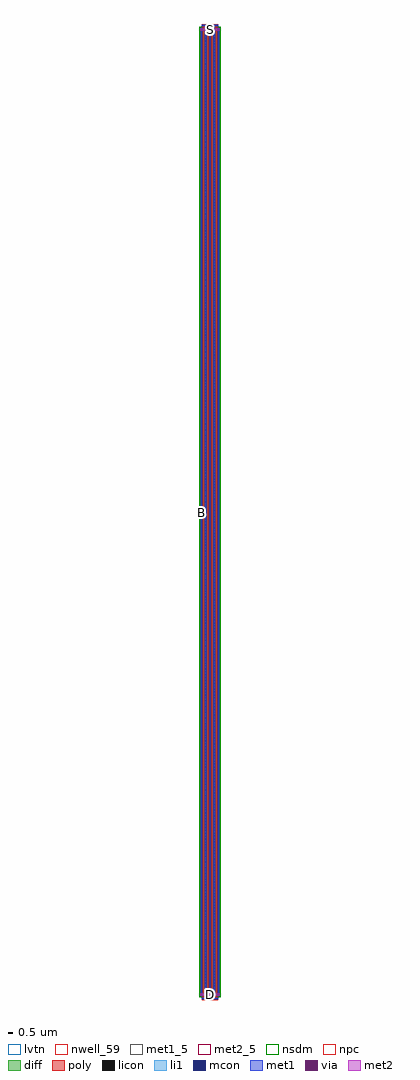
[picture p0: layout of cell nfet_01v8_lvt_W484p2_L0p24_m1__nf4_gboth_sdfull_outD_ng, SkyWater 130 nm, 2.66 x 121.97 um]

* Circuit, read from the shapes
.subckt nfet_01v8_lvt_W484p2_L0p24_m1__nf4_gboth_sdfull_outD_ng B D G S
XM1 S G D B sky130_fd_pr__nfet_01v8_lvt w=121.05 l=0.24 m=4
.ends

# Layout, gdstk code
import gdstk
lib = gdstk.Library(unit=1e-6, precision=1e-09)
def R(c, l, rs):  # rectangles x0, y0, x1, y1
    for r in rs: c.add(gdstk.rectangle(r[:2], r[2:], *l))
def A(c, l, x, y, w, h, nx, ny, dx, dy):  # array of equal rectangles
    R(c, l, [(x+i*dx, y+j*dy, x+i*dx+w, y+j*dy+h) for i in range(nx) for j in range(ny)])
nwell_59 = (64, 59)
diff = (65, 20)
poly = (66, 20)
licon = (66, 44)
li1 = (67, 20)
mcon = (67, 44)
met1_5 = (68, 5)
met1 = (68, 20)
via = (68, 44)
met2_5 = (69, 5)
met2 = (69, 20)
nsdm = (93, 44)
npc = (95, 20)
lvtn = (125, 44)

sky130_fd_pr__nfet_01v8_ = lib.new_cell('sky130_fd_pr__nfet_01v8_lvt_Y8JJU7')
R(sky130_fd_pr__nfet_01v8_, diff, [(-1.205,-60.525,1.205,60.525)])
A(sky130_fd_pr__nfet_01v8_, poly, -0.915, -60.635, 0.24, 121.27, 4, 1, 0.53, 0)
R(sky130_fd_pr__nfet_01v8_, poly, [(-1.06,-60.965,1.06,-60.635), (-1.06,60.635,1.06,60.965)])
A(sky130_fd_pr__nfet_01v8_, licon, -0.88, -60.885, 0.17, 0.17, 4, 2, 0.53, 121.6)
A(sky130_fd_pr__nfet_01v8_, licon, -1.145, -60.435, 0.17, 0.17, 5, 356, 0.53, 0.34)
A(sky130_fd_pr__nfet_01v8_, li1, -1.145, -60.545, 0.17, 121.09, 5, 1, 0.53, 0)
R(sky130_fd_pr__nfet_01v8_, li1, [(-1.06,-60.885,1.06,-60.715), (-1.06,60.715,1.06,60.885)])
A(sky130_fd_pr__nfet_01v8_, mcon, -0.88, -60.885, 0.17, 0.17, 4, 2, 0.53, 121.6)
A(sky130_fd_pr__nfet_01v8_, mcon, -1.145, -60.385, 0.17, 0.17, 5, 336, 0.53, 0.36)
A(sky130_fd_pr__nfet_01v8_, met1, -0.94, -60.915, 0.29, 0.03, 4, 2, 0.53, 0.2)
A(sky130_fd_pr__nfet_01v8_, met1, -1.175, -60.525, 0.23, 121.05, 5, 1, 0.53, 0)
A(sky130_fd_pr__nfet_01v8_, met1, -0.94, 60.685, 0.29, 0.03, 4, 2, 0.53, 0.2)
R(sky130_fd_pr__nfet_01v8_, met1, [(-1.06,-60.885,1.06,-60.715), (-1.06,60.715,1.06,60.885)])
R(sky130_fd_pr__nfet_01v8_, nsdm, [(-1.33,-60.65,1.33,60.65)])
R(sky130_fd_pr__nfet_01v8_, npc, [(-0.98,-60.985,0.98,-60.615), (-0.98,60.615,0.98,60.985)])
R(sky130_fd_pr__nfet_01v8_, lvtn, [(-1.095,-60.705,1.095,60.705)])
sky130_fd_pr__nfet_01v8_.add(gdstk.Label('D0', (-1.06,0), layer=67, texttype=5))
sky130_fd_pr__nfet_01v8_.add(gdstk.Label('G', (0.795,60.8), layer=67, texttype=5))
sky130_fd_pr__nfet_01v8_.add(gdstk.Label('G', (0.265,60.8), layer=67, texttype=5))
sky130_fd_pr__nfet_01v8_.add(gdstk.Label('G', (-0.265,60.8), layer=67, texttype=5))
sky130_fd_pr__nfet_01v8_.add(gdstk.Label('G', (-0.795,60.8), layer=67, texttype=5))
sky130_fd_pr__nfet_01v8_.add(gdstk.Label('S1', (-0.53,0), layer=67, texttype=5))
sky130_fd_pr__nfet_01v8_.add(gdstk.Label('D2', (0,0), layer=67, texttype=5))
sky130_fd_pr__nfet_01v8_.add(gdstk.Label('S3', (0.53,0), layer=67, texttype=5))

nfet_01v8_lvt_w484p2_l0p = lib.new_cell('nfet_01v8_lvt_W484p2_L0p24_m1__nf4_gboth_sdfull_outD_ng')
R(nfet_01v8_lvt_w484p2_l0p, nwell_59, [(0.05,60.915,0.15,61.015)])
R(nfet_01v8_lvt_w484p2_l0p, met1_5, [(0.145,121.65,2.265,121.88)])
A(nfet_01v8_lvt_w484p2_l0p, met1, 0.015, 0.49, 0.26, 0.32, 3, 1, 1.06, 0)
R(nfet_01v8_lvt_w484p2_l0p, met1, [(0.545,121.12,0.805,121.44), (1.605,121.12,1.865,121.44), (0.145,121.65,2.265,121.88)])
A(nfet_01v8_lvt_w484p2_l0p, via, 0.07, 0.575, 0.15, 0.15, 3, 1, 1.06, 0)
R(nfet_01v8_lvt_w484p2_l0p, via, [(0.6,121.205,0.75,121.355), (1.66,121.205,1.81,121.355)])
R(nfet_01v8_lvt_w484p2_l0p, met2_5, [(0.01,0.49,2.4,0.81), (0.01,121.12,2.4,121.44)])
R(nfet_01v8_lvt_w484p2_l0p, met2, [(0.01,0.49,2.4,0.81), (0.01,121.12,2.4,121.44)])
nfet_01v8_lvt_w484p2_l0p.add(gdstk.Reference(sky130_fd_pr__nfet_01v8_, (1.205,60.965)))
nfet_01v8_lvt_w484p2_l0p.add(gdstk.Label('S', (1.205,121.28), layer=69, texttype=5))
nfet_01v8_lvt_w484p2_l0p.add(gdstk.Label('D', (1.205,0.65), layer=69, texttype=5))
nfet_01v8_lvt_w484p2_l0p.add(gdstk.Label('G', (1.205,121.765), layer=68, texttype=5))
nfet_01v8_lvt_w484p2_l0p.add(gdstk.Label('B', (0.1,60.965), layer=64, texttype=59))

lib.write_gds('nfet_01v8_lvt_W484p2_L0p24_m1__nf4_gboth_sdfull_outD_ng.gds')
